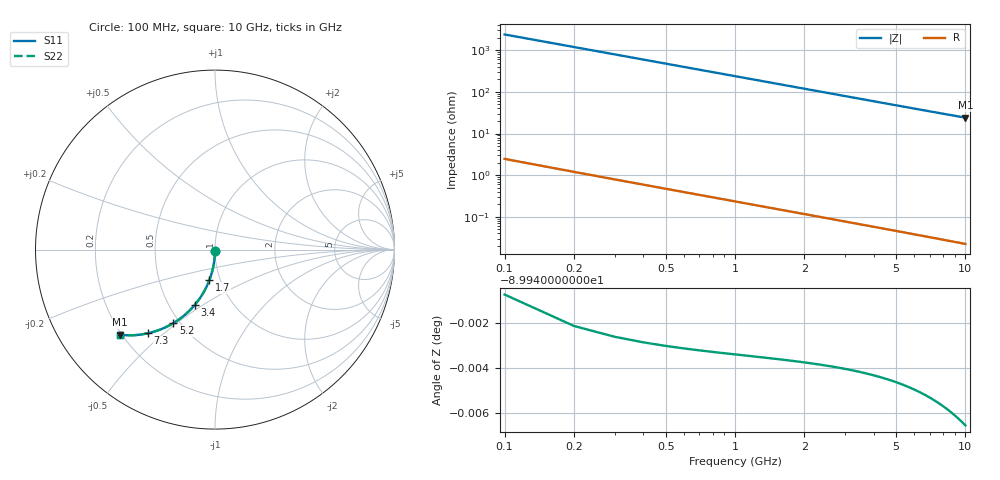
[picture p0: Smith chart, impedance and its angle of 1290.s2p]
# Hz S RI R 50.00
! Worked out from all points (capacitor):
!   100 points, 100 MHz to 10 GHz, reference 50 ohm
!   read as one part in shunt: C = 668 fF near 100 MHz
!   lowest |Z| = 24.1 ohm at 10 GHz (marker M1)
!   S11 on the Smith chart (normalised r, x): 100 MHz: 1.00, -0.02; 1.7 GHz: 0.89, -0.31; 3.4 GHz: 0.67, -0.46; 5.2 GHz: 0.46, -0.49; 7.3 GHz: 0.31, -0.44; 10 GHz: 0.19, -0.37
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1e8  -7.24e-05 -0.0103  0.9998 -0.0107  0.9998 -0.0107  -7.24e-05 -0.0103
2e8  -0.000412 -0.0205  0.9995 -0.0214  0.9995 -0.0214  -0.000412 -0.0205
3e8  -0.000972 -0.0307  0.9989 -0.0321  0.9989 -0.0321  -0.000972 -0.0307
4e8  -0.00175 -0.041  0.9981 -0.0428  0.9981 -0.0428  -0.00175 -0.041
5e8  -0.00275 -0.0512  0.9972 -0.0535  0.9972 -0.0535  -0.00275 -0.0512
6e8  -0.00396 -0.0613  0.9959 -0.0641  0.9959 -0.0641  -0.00396 -0.0613
8e8  -0.00703 -0.0815  0.9929 -0.0852  0.9929 -0.0852  -0.00703 -0.0815
1.1e9  -0.0132 -0.1114  0.9867 -0.1165  0.9867 -0.1165  -0.0132 -0.1114
1.4e9  -0.0212 -0.1406  0.9786 -0.1471  0.9786 -0.1471  -0.0212 -0.1406
1.7e9  -0.031 -0.1691  0.9689 -0.1769  0.9689 -0.1769  -0.031 -0.1691
1.8e9  -0.0346 -0.1783  0.9652 -0.1867  0.9652 -0.1867  -0.0346 -0.1783
2.1e9  -0.0466 -0.2055  0.9533 -0.2153  0.9533 -0.2153  -0.0466 -0.2055
2.5e9  -0.0648 -0.24  0.9351 -0.2516  0.9351 -0.2516  -0.0648 -0.24
2.9e9  -0.0853 -0.2722  0.9145 -0.2857  0.9145 -0.2857  -0.0853 -0.2722
3.4e9  -0.1137 -0.3092  0.886 -0.3251  0.886 -0.3251  -0.1137 -0.3092
4.2e9  -0.164 -0.3601  0.8357 -0.3798  0.8357 -0.3798  -0.164 -0.3601
5.1e9  -0.2248 -0.4051  0.7748 -0.4291  0.7748 -0.4291  -0.2248 -0.4051
5.2e9  -0.2317 -0.4093  0.7679 -0.4338  0.7679 -0.4338  -0.2317 -0.4093
6.7e9  -0.3347 -0.4556  0.6647 -0.4874  0.6647 -0.4874  -0.3347 -0.4556
7.3e9  -0.3743 -0.4662  0.6249 -0.5009  0.6249 -0.5009  -0.3743 -0.4662
8.4e9  -0.4429 -0.4762  0.5562 -0.5164  0.5562 -0.5164  -0.4429 -0.4762
1e10  -0.5311 -0.4744  0.4676 -0.5226  0.4676 -0.5226  -0.5311 -0.4744
